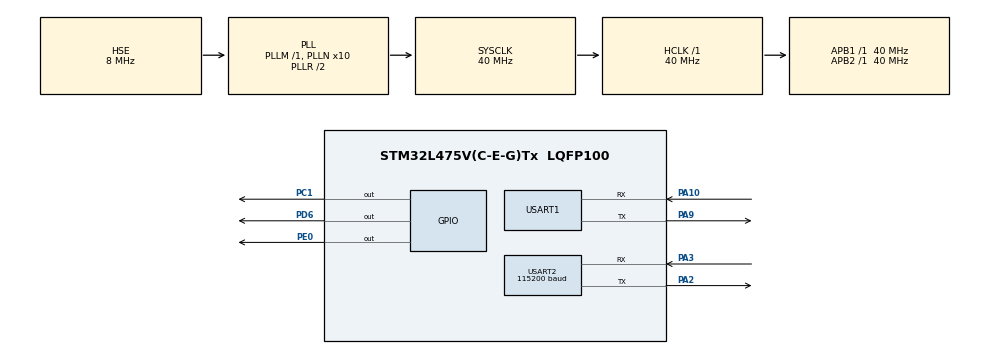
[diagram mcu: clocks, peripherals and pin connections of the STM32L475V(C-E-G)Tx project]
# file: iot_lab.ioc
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Mcu.Family=STM32L4
Mcu.Name=STM32L475V(C-E-G)Tx
Mcu.Package=LQFP100
NVIC.PriorityGroup=NVIC_PRIORITYGROUP_4
NVIC.USART1_IRQn=true\:0\:0\:false\:false\:true\:true\:false\:true
NVIC.USART2_IRQn=true\:0\:0\:false\:false\:true\:true\:false\:true
PA10.Mode=Asynchronous
PA10.Signal=USART1_RX
PA13\ (JTMS-SWDIO).Mode=Serial_Wire
PA13\ (JTMS-SWDIO).Signal=SYS_JTMS-SWDIO
PA14\ (JTCK-SWCLK).Mode=Serial_Wire
PA14\ (JTCK-SWCLK).Signal=SYS_JTCK-SWCLK
PA2.Mode=Asynchronous
PA2.Signal=USART2_TX
PA3.Mode=Asynchronous
PA3.Signal=USART2_RX
PA9.Mode=Asynchronous
PA9.Signal=USART1_TX
PC1.GPIO_Speed=GPIO_SPEED_FREQ_VERY_HIGH
PC1.PinState=GPIO_PIN_SET
PC1.Signal=GPIO_Output
PD6.GPIO_Speed=GPIO_SPEED_FREQ_VERY_HIGH
PD6.PinState=GPIO_PIN_SET
PD6.Signal=GPIO_Output
PE0.GPIO_PuPd=GPIO_PULLUP
PE0.PinState=GPIO_PIN_SET
PE0.Signal=GPIO_Output
PH0-OSC_IN\ (PH0).Mode=HSE-External-Oscillator
PH0-OSC_IN\ (PH0).Signal=RCC_OSC_IN
PH1-OSC_OUT\ (PH1).Mode=HSE-External-Oscillator
PH1-OSC_OUT\ (PH1).Signal=RCC_OSC_OUT
ProjectManager.HeapSize=0x200
ProjectManager.StackSize=0x400
ProjectManager.TargetToolchain=STM32CubeIDE
RCC.ADCFreq_Value=32000000
RCC.AHBFreq_Value=40000000
RCC.APB1Freq_Value=40000000
RCC.APB1TimCLKDivider=2
RCC.APB1TimFreq_Value=80000000
RCC.APB2Freq_Value=40000000
RCC.APB2TimCLKDivider=2
RCC.APB2TimFreq_Value=80000000
RCC.CortexFreq_Value=40000000
RCC.HCLKFreq_Value=40000000
RCC.HSE_VALUE=8000000
RCC.HSI_VALUE=16000000
RCC.LSE_VALUE=32768
RCC.MSIClockRange=RCC_MSIRANGE_11
RCC.MSI_VALUE=48000000
RCC.PLLN=10
RCC.PLLSourceVirtual=RCC_PLLSOURCE_HSE
RCC.SYSCLKFreq_VALUE=40000000
RCC.SYSCLKSource=RCC_SYSCLKSOURCE_PLLCLK
RCC.USBFreq_Value=32000000
RCC.VCOOutputFreq_Value=80000000
USART1.VirtualMode-Asynchronous=VM_ASYNC
USART2.BaudRate=115200
USART2.VirtualMode-Asynchronous=VM_ASYNC
board=custom

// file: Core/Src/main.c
/* USER CODE BEGIN Header */
/**
  ******************************************************************************
  * @file           : main.c
  * @brief          : Main program body
  ******************************************************************************
  * @attention
  *
  * Copyright (c) 2023 STMicroelectronics.
  * All rights reserved.
  *
  * This software is licensed under terms that can be found in the LICENSE file
  * in the root directory of this software component.
  * If no LICENSE file comes with this software, it is provided AS-IS.
  *
  ******************************************************************************
  */
/* USER CODE END Header */
#include "main.h"
#include "usart.h"
#include "gpio.h"

/* USER CODE BEGIN Includes */
extern UART_HandleTypeDef huart1;
extern UART_HandleTypeDef huart2;
#include <string.h>
#include <stdio.h>
#include "bsp_AHT10.h"
/* USER CODE END Includes */

void SystemClock_Config(void);

/* USER CODE BEGIN 0 */
uint8_t rx2_buffer[256];
uint8_t rx1_buffer[256];
uint8_t trans_mode = 0;
uint8_t config_flag = 0;
uint8_t config_ab = 0;
uint8_t weak_up=0;
char at_test[20] = {"AT\r\n"};
char at_restart[20] = {"AT+RESET\r\n"};
char at_open_showback[20]={"ATE1\r\n"};
char at_close_showback[20]={"ATE0\r\n"};

char at_search_cwmode[20] = {"AT+CWMODE?\r\n"};//查询工作模式
char at_set_cwmode_nomal[20] = {"AT+CWMODE=0\r\n"};
char at_set_cwmode_lowpower[20] = {"AT+CWMODE=2\r\n"};
char at_set_cwmode_weakup[20] = {"AT+CWMODE=1\r\n"};

char at_search_tmode[20] = {"AT+TMODE?\r\n"};//查询发送状态
char at_set_tmode_transparent[20] = {"AT+TMODE=0\r\n"};//透明传输
char at_set_tmode_orientation[20] = {"AT+TMODE=1\r\n"};//定点传输

char at_search_wlrate[20] = {"AT+WLRATE?\r\n"};//查询无线速率和信道
//!!!!!!!!注意，这个信道是10进制，如果要进行定向传输时，报文中信道的部分要写成0C而不是12！！！！！！！！!!!!!
char at_set_wlrate_a[30] = {"AT+WLRATE=12,4\r\n"};//信道12 速率9.6kbps
char at_set_wlrate_b[30] = {"AT+WLRATE=12,4\r\n"};//信道12 速率9.6kbps

char at_search_address[20] = {"AT+ADDR?\r\n"};//查询设备地址
char at_set_address_a[20] = {"AT+ADDR=13,45\r\n"};
char at_set_address_b[20] = {"AT+ADDR=13,46\r\n"};

char at_set_uart_baudrate_115200[20] = {"AT+UART=7,0\r\n"};

char choose_mode[100] = {"\nplease choose transport mode:\n 1.transparent mode\n 2.orientation mode\r\n"};
char choose_work[150] = {"\nPlease select whether you want to enter low power mode(only transparent mode support low power):\n 1.no\n 2.need\r\n"};
char choose_board[100] = {"\nPlease select which board you are on:\n 1.A board\n 2.B board\r\n"};

char error[30] = {"something was wrong!\r\n"};
char low_power[30] = {"mcu enter low power mode"};
uint16_t temperature;
uint16_t humidity;
void AT_lora_mode_set();
void AT_lora_inquire();
void enter_low_power_mode();
void AT_lora_init()
{
    HAL_Delay(100);
    HAL_UART_Transmit(&huart2,(uint8_t *)at_test,strlen(at_test),1000);
    HAL_Delay(100);
    AT_lora_inquire();
    HAL_Delay(100);
    HAL_UART_Transmit(&huart1,(uint8_t *)choose_work,strlen(choose_work),1000);
    while (config_flag==0)
    {
    }
    if(config_flag==1)
    {
//        HAL_UART_Transmit(&huart2,(uint8_t *)at_set_cwmode_nomal,strlen(at_set_cwmode_nomal),1000);
        HAL_Delay(100);
        HAL_UART_Transmit(&huart2,(uint8_t *)at_set_cwmode_weakup,strlen(at_set_cwmode_weakup),1000);//另一个板子需要低功耗唤醒时，主板再解除注释
        AT_lora_mode_set();
    }
    else if(config_flag == 2)
    {
        HAL_Delay(100);
        AT_lora_mode_set();
        HAL_UART_Transmit(&huart2,(uint8_t *)at_set_cwmode_lowpower,strlen(at_set_cwmode_lowpower),1000);
        enter_low_power_mode();
    }

}
void AT_lora_mode_set()
{
    HAL_UART_Transmit(&huart1,(uint8_t *)choose_mode,strlen(choose_mode),1000);
    while(trans_mode==0)
    {
    }
    if(trans_mode==1)//透明传输
    {
        HAL_UART_Transmit(&huart2,(uint8_t *)at_open_showback,strlen(at_open_showback),1000);
        HAL_Delay(100);
        HAL_UART_Transmit(&huart2,(uint8_t *)at_set_tmode_transparent,strlen(at_set_tmode_transparent),1000);
        HAL_Delay(100);

        HAL_UART_Transmit(&huart2,(uint8_t *)at_set_wlrate_a,strlen(at_set_wlrate_a),1000);
        HAL_Delay(100);

        HAL_UART_Transmit(&huart2,(uint8_t *)at_set_address_a,strlen(at_set_address_a),1000);
        HAL_Delay(100);

        HAL_UART_Transmit(&huart2,(uint8_t *)at_set_uart_baudrate_115200,strlen(at_set_uart_baudrate_115200),1000);
        HAL_Delay(100);
        AT_lora_inquire();
        HAL_GPIO_WritePin(GPIOE, GPIO_PIN_0, GPIO_PIN_RESET);
        HAL_UART_Transmit(&huart2,(uint8_t *)at_restart,strlen(at_restart),1000);
        HAL_Delay(100);

    }
    else if(trans_mode == 2&&config_flag==1)
    {
        HAL_UART_Transmit(&huart2,(uint8_t *)at_open_showback,strlen(at_open_showback),1000);
        HAL_Delay(100);
        HAL_UART_Transmit(&huart1,(uint8_t *)choose_board,strlen(choose_board),1000);
        while (config_ab==0)
        {

        }
        if(config_ab==1)
        {
            HAL_UART_Transmit(&huart2,(uint8_t *)at_set_tmode_orientation,strlen(at_set_tmode_orientation),1000);
            HAL_Delay(100);
            HAL_UART_Transmit(&huart2,(uint8_t *)at_set_wlrate_a,strlen(at_set_wlrate_a),1000);
            HAL_Delay(100);

            HAL_UART_Transmit(&huart2,(uint8_t *)at_set_address_a,strlen(at_set_address_a),1000);
            HAL_Delay(100);
        }
        else if(config_ab == 2)
        {
            HAL_UART_Transmit(&huart2,(uint8_t *)at_set_tmode_orientation,strlen(at_set_tmode_orientation),1000);
            HAL_Delay(100);
            HAL_UART_Transmit(&huart2,(uint8_t *)at_set_wlrate_b,strlen(at_set_wlrate_b),1000);
            HAL_Delay(100);

            HAL_UART_Transmit(&huart2,(uint8_t *)at_set_address_b,strlen(at_set_address_b),1000);
            HAL_Delay(100);

        }

        HAL_UART_Transmit(&huart2,(uint8_t *)at_set_uart_baudrate_115200,strlen(at_set_uart_baudrate_115200),1000);
        HAL_Delay(100);
        AT_lora_inquire();
        HAL_GPIO_WritePin(GPIOE, GPIO_PIN_0, GPIO_PIN_RESET);
        HAL_UART_Transmit(&huart2,(uint8_t *)at_restart,strlen(at_restart),1000);
        HAL_Delay(100);
        weak_up = 0;
    }
    else
    {
        HAL_UART_Transmit(&huart1,(uint8_t *)error,strlen(error),1000);
    }

}
void AT_lora_inquire()
{
    HAL_UART_Transmit(&huart2,(uint8_t *)at_close_showback,strlen(at_close_showback),1000);
    HAL_Delay(100);
    HAL_UART_Transmit(&huart2,(uint8_t *)at_search_address,strlen(at_search_address),1000);
    HAL_Delay(100);
    HAL_UART_Transmit(&huart2,(uint8_t *)at_search_wlrate,strlen(at_search_wlrate),1000);
    HAL_Delay(100);
    HAL_UART_Transmit(&huart2,(uint8_t *)at_search_cwmode,strlen(at_search_cwmode),1000);
    HAL_Delay(100);
    HAL_UART_Transmit(&huart2,(uint8_t *)at_search_tmode,strlen(at_search_tmode),1000);
    HAL_Delay(100);
}

void enter_low_power_mode()
{
    HAL_UART_Transmit(&huart1,(uint8_t *)low_power,strlen(low_power),1000);
    HAL_Delay(100);
    HAL_UART_DeInit(&huart2);
    HAL_UART_DeInit(&huart1);
    GPIO_InitTypeDef GPIO_InitStruct = {0};

    GPIO_InitStruct.Pin = GPIO_PIN_1; //唤醒模式下，模块AUX脚即接入到MCU的PE1会提前发出高电平唤醒MCU
    GPIO_InitStruct.Mode = GPIO_MODE_IT_RISING;
    GPIO_InitStruct.Pull = GPIO_NOPULL;
    HAL_GPIO_Init(GPIOE, &GPIO_InitStruct);

    /* EXTI interrupt init*/
    HAL_NVIC_SetPriority(EXTI1_IRQn, 0, 0);
    HAL_NVIC_EnableIRQ(EXTI1_IRQn);

    HAL_PWR_EnterSTOPMode(PWR_LOWPOWERREGULATOR_ON,PWR_STOPENTRY_WFI);
    SystemClock_Config();
    weak_up = 0;
}
void HAL_GPIO_EXTI_Callback(uint16_t GPIO_Pin)
{
    if(GPIO_Pin == GPIO_PIN_1)
    {
        HAL_Init();
        huart2.gState = HAL_UART_STATE_RESET;
        MX_USART2_UART_Init();
        huart1.gState = HAL_UART_STATE_RESET;
        MX_USART1_UART_Init();
        HAL_NVIC_DisableIRQ(EXTI1_IRQn);
        __HAL_UART_ENABLE_IT(&huart2,UART_IT_RXNE);
        __HAL_UART_ENABLE_IT(&huart2,UART_IT_IDLE);
        __HAL_UART_ENABLE_IT(&huart1,UART_IT_RXNE);
        __HAL_UART_ENABLE_IT(&huart1,UART_IT_IDLE);

    }
}
/* USER CODE END 0 */

int main(void)
{

  /* MCU Configuration--------------------------------------------------------*/

  /* Reset of all peripherals, Initializes the Flash interface and the Systick. */
  HAL_Init();

  /* Configure the system clock */
  SystemClock_Config();

  /* Initialize all configured peripherals */
  MX_GPIO_Init();
  MX_USART2_UART_Init();
  MX_USART1_UART_Init();
  /* USER CODE BEGIN 2 */

    __HAL_UART_ENABLE_IT(&huart2,UART_IT_RXNE);
    __HAL_UART_ENABLE_IT(&huart2,UART_IT_IDLE);
    __HAL_UART_ENABLE_IT(&huart1,UART_IT_RXNE);
    __HAL_UART_ENABLE_IT(&huart1,UART_IT_IDLE);
    AT_lora_init();
    HAL_Delay(1000);
    AHT10Init();
    HAL_Delay(1000);
  /* USER CODE END 2 */

  /* Infinite loop */
  while (1)
  {

    /* USER CODE BEGIN 3 */
    if(config_flag == 1)
    {

        AHT10ReadData(&temperature,&humidity);
        uint8_t str[50];
        sprintf(str,"t:%d,h:%d\r\n",temperature,humidity);
//        HAL_UART_Transmit(&huart2,str, strlen(str),1000);
    }
      if(weak_up==1&&config_flag==2)
      {
          enter_low_power_mode();
      }

      HAL_Delay(10);
  }
  /* USER CODE END 3 */
}

void SystemClock_Config(void)
{
  RCC_OscInitTypeDef RCC_OscInitStruct = {0};
  RCC_ClkInitTypeDef RCC_ClkInitStruct = {0};

  /** Configure the main internal regulator output voltage
  */
  if (HAL_PWREx_ControlVoltageScaling(PWR_REGULATOR_VOLTAGE_SCALE1) != HAL_OK)
  {
    Error_Handler();
  }

  /** Initializes the RCC Oscillators according to the specified parameters
  * in the RCC_OscInitTypeDef structure.
  */
  RCC_OscInitStruct.OscillatorType = RCC_OSCILLATORTYPE_HSE;
  RCC_OscInitStruct.HSEState = RCC_HSE_ON;
  RCC_OscInitStruct.PLL.PLLState = RCC_PLL_ON;
  RCC_OscInitStruct.PLL.PLLSource = RCC_PLLSOURCE_HSE;
  RCC_OscInitStruct.PLL.PLLM = 1;
  RCC_OscInitStruct.PLL.PLLN = 10;
  RCC_OscInitStruct.PLL.PLLP = RCC_PLLP_DIV7;
  RCC_OscInitStruct.PLL.PLLQ = RCC_PLLQ_DIV2;
  RCC_OscInitStruct.PLL.PLLR = RCC_PLLR_DIV2;
  if (HAL_RCC_OscConfig(&RCC_OscInitStruct) != HAL_OK)
  {
    Error_Handler();
  }

  /** Initializes the CPU, AHB and APB buses clocks
  */
  RCC_ClkInitStruct.ClockType = RCC_CLOCKTYPE_HCLK|RCC_CLOCKTYPE_SYSCLK
                              |RCC_CLOCKTYPE_PCLK1|RCC_CLOCKTYPE_PCLK2;
  RCC_ClkInitStruct.SYSCLKSource = RCC_SYSCLKSOURCE_PLLCLK;
  RCC_ClkInitStruct.AHBCLKDivider = RCC_SYSCLK_DIV1;
  RCC_ClkInitStruct.APB1CLKDivider = RCC_HCLK_DIV1;
  RCC_ClkInitStruct.APB2CLKDivider = RCC_HCLK_DIV1;

  if (HAL_RCC_ClockConfig(&RCC_ClkInitStruct, FLASH_LATENCY_2) != HAL_OK)
  {
    Error_Handler();
  }
}

void Error_Handler(void)
{
  __disable_irq();
  while (1)
  {
  }
}
